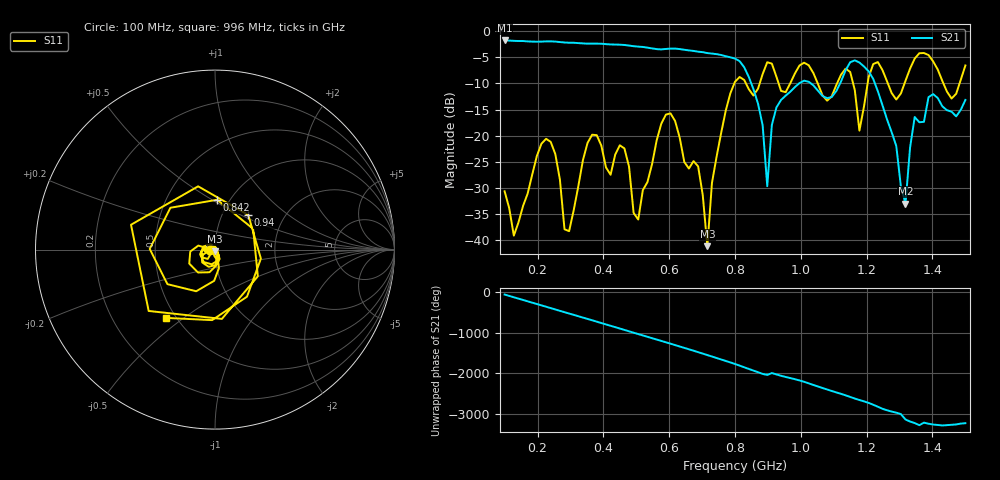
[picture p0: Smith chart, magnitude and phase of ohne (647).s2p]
! NanoVNA-App
! Date: 2025-09-25 14:25:50
! Start: 100MHz Stop: 1,5GHz Points: 101
! S-Parameter data: F S11 S21 S12 S22
# Hz S RI R 50
!  Frequency  S11_Real  S11_Imag  S21_Real  S21_Imag  S12_Real  S12_Imag  S22_Real  S22_Imag
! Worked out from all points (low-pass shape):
!   101 points, 100 MHz to 1.5 GHz, reference 50 ohm
!   highest |S21| = -1.79 dB at 100 MHz (marker M1); lowest = -33.0 dB at 1.318 GHz (marker M2)
!   |S21| within 3 dB of the highest: start of sweep to 770.8 MHz
!   lowest |S11| = -41.1 dB at 716 MHz (marker M3), VSWR 1.02, Z = 49.8 - j0.851 ohm
!   |S11| at or under -10 dB: start of sweep to 798 MHz; 833.1 MHz to 875.1 MHz (41.97 MHz wide, 4.91 % of centre); 1.051 GHz to 1.11 GHz (58.87 MHz wide, 5.45 % of centre) (the widest 3 of 7)
!   S12 and S22 are empty: the file has one direction only
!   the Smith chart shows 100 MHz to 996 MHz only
!   S11 on the Smith chart (normalised r, x): 100 MHz: 0.94, -0.01; 842 MHz: 0.88, +0.53; 940 MHz: 1.32, +0.55; 996 MHz: 0.44, -0.43
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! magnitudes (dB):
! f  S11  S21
! 100 MHz  -30.6  -1.8
! 128 MHz  -39.1  -1.9
! 226 MHz  -20.6  -2.0
! 296 MHz  -38.3  -2.2
! 338 MHz  -24.7  -2.4
! 464 MHz  -22.4  -2.7
! 506 MHz  -36.0  -3.0
! 576 MHz  -17.7  -3.5
! 688 MHz  -25.9  -3.9
! 716 MHz  -41.1  -4.2
! 800 MHz  -9.7  -5.3
! 842 MHz  -11.1  -8.8
! 898 MHz  -6.0  -29.7
! 940 MHz  -11.4  -13.2
! 996 MHz  -6.6  -9.9
! 1.038 GHz  -8.0  -10.4
! 1.178 GHz  -19.0  -6.0
! 1.22 GHz  -6.3  -9.2
! 1.276 GHz  -11.9  -19.3
! 1.318 GHz  -9.5  -33.0
! 1.346 GHz  -5.3  -16.4
! 1.5 GHz  -6.6  -13.2
